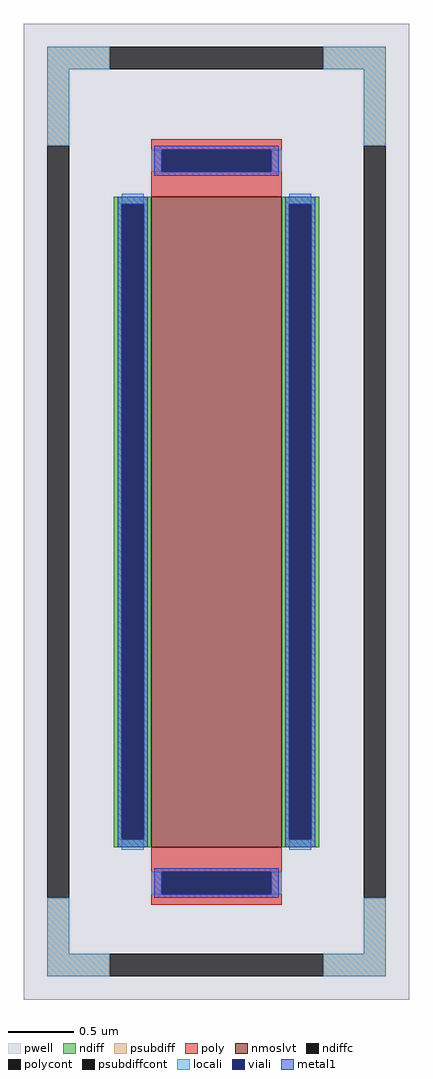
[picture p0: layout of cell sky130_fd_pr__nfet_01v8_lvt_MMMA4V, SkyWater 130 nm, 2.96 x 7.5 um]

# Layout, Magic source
magic
tech sky130A
<< pwell >>
rect -148 -367 148 383
<< nmoslvt >>
rect -50 -250 50 250
<< ndiff >>
rect -79 244 -50 250
rect -79 -244 -73 244
rect -56 -244 -50 244
rect -79 -250 -50 -244
rect 50 244 79 250
rect 50 -244 56 244
rect 73 -244 79 244
rect 50 -250 79 -244
<< ndiffc >>
rect -73 -244 -56 244
rect 56 -244 73 244
<< psubdiff >>
rect -130 348 -82 365
rect 82 348 130 365
rect -130 289 -113 348
rect 113 289 130 348
rect -130 -332 -113 -289
rect 113 -332 130 -289
rect -130 -349 -82 -332
rect 82 -349 130 -332
<< psubdiffcont >>
rect -82 348 82 365
rect -130 -289 -113 289
rect 113 -289 130 289
rect -82 -349 82 -332
<< poly >>
rect -50 286 50 294
rect -50 269 -42 286
rect 42 269 50 286
rect -50 250 50 269
rect -50 -269 50 -250
rect -50 -286 -42 -269
rect 42 -286 50 -269
rect -50 -294 50 -286
<< polycont >>
rect -42 269 42 286
rect -42 -286 42 -269
<< locali >>
rect -130 348 -82 365
rect 82 348 130 365
rect -130 289 -113 348
rect 113 289 130 348
rect -50 269 -42 286
rect 42 269 50 286
rect -73 244 -56 252
rect -73 -252 -56 -244
rect 56 244 73 252
rect 56 -252 73 -244
rect -50 -286 -42 -269
rect 42 -286 50 -269
rect -130 -332 -113 -289
rect 113 -332 130 -289
rect -130 -349 -82 -332
rect 82 -349 130 -332
<< viali >>
rect -42 269 42 286
rect -73 -244 -56 244
rect 56 -244 73 244
rect -42 -286 42 -269
<< metal1 >>
rect -48 286 48 289
rect -48 269 -42 286
rect 42 269 48 286
rect -48 266 48 269
rect -76 244 -53 250
rect -76 -244 -73 244
rect -56 -244 -53 244
rect -76 -250 -53 -244
rect 53 244 76 250
rect 53 -244 56 244
rect 73 -244 76 244
rect 53 -250 76 -244
rect -48 -269 48 -266
rect -48 -286 -42 -269
rect 42 -286 48 -269
rect -48 -289 48 -286
<< properties >>
string FIXED_BBOX -121 -328 121 328
string gencell sky130_fd_pr__nfet_01v8_lvt
string library sky130
string parameters w 5.0 l 1.0 m 1 nf 1 diffcov 100 polycov 100 guard 1 glc 1 grc 1 gtc 1 gbc 1 tbcov 100 rlcov 100 topc 1 botc 1 poverlap 0 doverlap 1 lmin 0.15 wmin 0.42 compatible {sky130_fd_pr__nfet_01v8 sky130_fd_pr__nfet_01v8_lvt  sky130_fd_bs_flash__special_sonosfet_star  sky130_fd_pr__nfet_g5v0d10v5 sky130_fd_pr__nfet_05v0_nvt  sky130_fd_pr__nfet_03v3_nvt} full_metal 1 viasrc 100 viadrn 100 viagate 100 viagb 0 viagr 0 viagl 0 viagt 0
<< end >>
